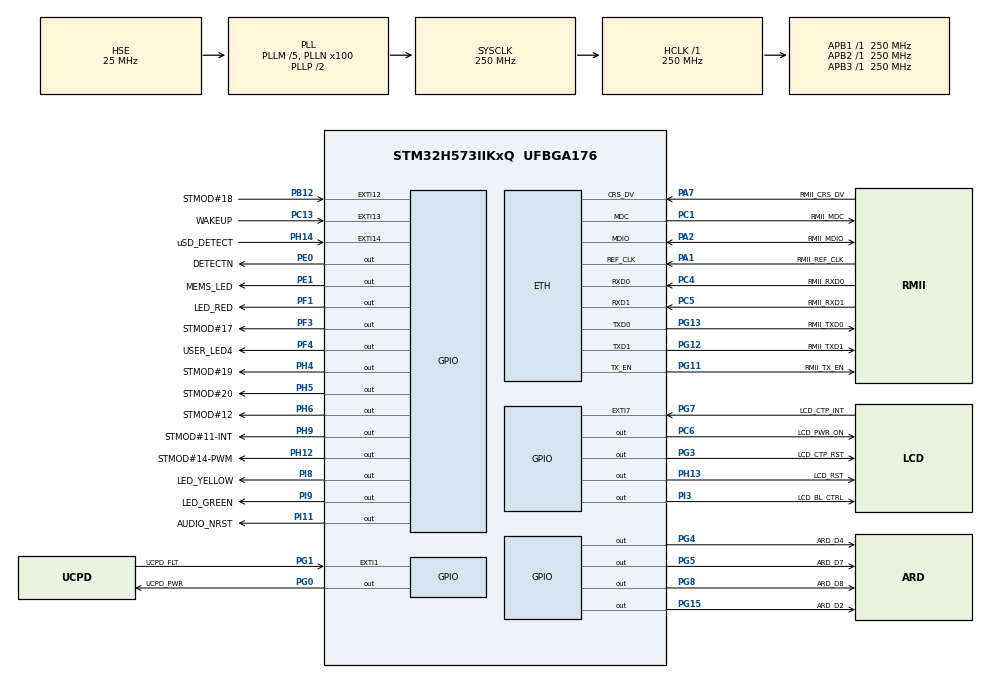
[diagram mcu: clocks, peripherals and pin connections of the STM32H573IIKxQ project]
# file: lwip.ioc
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CORTEX_M33_NS.userName=CORTEX_M33
ETH.MediaInterface=HAL_ETH_RMII_MODE
Mcu.Family=STM32H5
Mcu.Name=STM32H573IIKxQ
Mcu.Package=UFBGA176
NVIC.PriorityGroup=NVIC_PRIORITYGROUP_4
PA0.GPIO_Label=ARD_A2
PA0.Signal=ADCx_INP0
PA1.GPIO_Label=RMII_REF_CLK
PA1.Mode=RMII
PA1.Signal=ETH_REF_CLK
PA10.Signal=USART1_RX
PA11.GPIO_Label=USB_FS_N
PA11.Signal=USB_DM
PA12.GPIO_Label=USB_FS_P
PA12.Signal=USB_DP
PA13(JTMS/SWDIO).GPIO_Label=JTMS
PA13(JTMS/SWDIO).Signal=DEBUG_JTMS-SWDIO
PA14(JTCK/SWCLK).GPIO_Label=JTCK
PA14(JTCK/SWCLK).Signal=DEBUG_JTCK-SWCLK
PA15(JTDI).GPIO_Label=JTDI
PA15(JTDI).Signal=DEBUG_JTDI
PA2.GPIO_Label=RMII_MDIO
PA2.Mode=RMII
PA2.Signal=ETH_MDIO
PA3.GPIO_Label=ARD_D10
PA3.Signal=SPI2_NSS
PA4.GPIO_Label=ARD_A1
PA4.Signal=ADCx_INP18
PA5.GPIO_Label=ARD_A3
PA5.Signal=ADCx_INP19
PA6.GPIO_Label=ARD_A4
PA6.Signal=ADCx_INP3
PA7.GPIO_Label=RMII_CRS_DV
PA7.Mode=RMII
PA7.Signal=ETH_CRS_DV
PA8.GPIO_Label=ARD_D9
PA8.Signal=S_TIM1_CH1
PA9.Signal=USART1_TX
PB0.GPIO_Label=ARD_A0
PB0.Signal=ADCx_INP9
PB1.GPIO_Mode=GPIO_MODE_AF_PP
PB1.GPIO_PuPd=GPIO_NOPULL
PB1.GPIO_Speed_High_Default=GPIO_SPEED_FREQ_VERY_HIGH
PB1.Signal=OCTOSPI1_IO0
PB10.GPIO_Label=ARD_D1
PB10.Signal=USART3_TX
PB11.GPIO_Label=ARD_D0
PB11.Signal=USART3_RX
PB12.GPIO_Label=STMOD\#18
PB12.Signal=GPXTI12
PB13.GPIO_Label=UCPD_CC1
PB13.Signal=UCPD1_CC1
PB14.GPIO_Label=UCPD_CC2
PB14.Signal=UCPD1_CC2
PB15.GPIO_Label=ARD_D11
PB15.Signal=SPI2_MOSI
PB2.Signal=OCTOSPI1_DQS
PB3(JTDO/TRACESWO).GPIO_Label=SWO
PB3(JTDO/TRACESWO).Signal=DEBUG_JTDO-SWO
PB5.GPIO_Label=ARD_D3
PB5.Signal=S_TIM3_CH2
PB6.GPIO_Label=I2C1_SCL
PB6.Signal=I2C1_SCL
PB7.GPIO_Label=I2C1_SDA
PB7.Signal=I2C1_SDA
PC0.Signal=OCTOSPI1_IO7
PC1.GPIO_Label=RMII_MDC
PC1.Mode=RMII
PC1.Signal=ETH_MDC
PC10.GPIO_Label=SDIO1_D2
PC10.Signal=SDMMC1_D2
PC11.GPIO_Label=SDIO1_D3
PC11.Signal=SDMMC1_D3
PC12.GPIO_Label=SDIO1_CK
PC12.Signal=SDMMC1_CK
PC13.GPIO_Label=WAKEUP
PC13.Signal=GPXTI13
PC14-OSC32_IN(OSC32_IN).Signal=RCC_OSC32_IN
PC15-OSC32_OUT(OSC32_OUT).Signal=RCC_OSC32_OUT
PC2.GPIO_Mode=GPIO_MODE_AF_PP
PC2.GPIO_PuPd=GPIO_NOPULL
PC2.GPIO_Speed_High_Default=GPIO_SPEED_FREQ_VERY_HIGH
PC2.Signal=OCTOSPI1_IO2
PC3.GPIO_Label=PDM_SAI1_SD3
PC3.Signal=SAI1_D3
PC4.GPIO_Label=RMII_RXD0
PC4.Mode=RMII
PC4.Signal=ETH_RXD0
PC5.GPIO_Label=RMII_RXD1
PC5.Mode=RMII
PC5.Signal=ETH_RXD1
PC6.GPIO_Label=LCD_PWR_ON
PC6.Signal=GPIO_Output
PC7.Signal=FMC_NE1
PC8.GPIO_Label=SDIO1_D0
PC8.Signal=SDMMC1_D0
PC9.GPIO_Label=SDIO1_D1
PC9.Signal=SDMMC1_D1
PD0.GPIO_Label=LCD_D2
PD0.Signal=FMC_D2_DA2
PD1.GPIO_Label=LCD_D3
PD1.Signal=FMC_D3_DA3
PD10.GPIO_Label=LCD_D15
PD10.Signal=FMC_D15_DA15
PD11.Signal=SAI1_CK1
PD12.GPIO_Mode=GPIO_MODE_AF_PP
PD12.GPIO_PuPd=GPIO_NOPULL
PD12.GPIO_Speed_High_Default=GPIO_SPEED_FREQ_VERY_HIGH
PD12.Signal=OCTOSPI1_IO1
PD13.GPIO_Mode=GPIO_MODE_AF_PP
PD13.GPIO_PuPd=GPIO_NOPULL
PD13.GPIO_Speed_High_Default=GPIO_SPEED_FREQ_VERY_HIGH
PD13.Signal=OCTOSPI1_IO3
PD14.GPIO_Label=LCD_D0
PD14.Signal=FMC_D0_DA0
PD15.GPIO_Label=LCD_D1
PD15.Signal=FMC_D1_DA1
PD2.GPIO_Label=SDIO1_CMD
PD2.Signal=SDMMC1_CMD
PD3.GPIO_Label=LCD_TE
PD3.Signal=FMC_CLK
PD4.GPIO_Label=LCD_NOE
PD4.Signal=FMC_NOE
PD5.GPIO_Label=LCD_NWE
PD5.Signal=FMC_NWE
PD6.Signal=SAI1_SD_A
PD8.GPIO_Label=LCD_D13
PD8.Signal=FMC_D13_DA13
PD9.GPIO_Label=LCD_D14
PD9.Signal=FMC_D14_DA14
PE0.GPIO_Label=DETECTN
PE0.Signal=GPIO_Output
PE1.GPIO_Label=MEMS_LED
PE1.Signal=GPIO_Output
PE10.GPIO_Label=LCD_D7
PE10.Signal=FMC_D7_DA7
PE11.GPIO_Label=LCD_D8
PE11.Signal=FMC_D8_DA8
PE12.GPIO_Label=LCD_D9
PE12.Signal=FMC_D9_DA9
PE13.GPIO_Label=LCD_D10
PE13.Signal=FMC_D10_DA10
PE14.GPIO_Label=LCD_D11
PE14.Signal=FMC_D11_DA11
PE15.GPIO_Label=LCD_D12
PE15.Signal=FMC_D12_DA12
PE2.Signal=DEBUG_TRACECLK
PE3.GPIO_Label=TRACED0
PE3.Signal=DEBUG_TRACED0
PE4.Signal=SAI1_D2
PE5.GPIO_Label=TRACED2
PE5.Signal=DEBUG_TRACED2
PE6.GPIO_Label=TRACED3
PE6.Signal=DEBUG_TRACED3
PE7.Signal=FMC_D4_DA4
PE8.GPIO_Label=LCD_D5
PE8.Signal=FMC_D5_DA5
PE9.GPIO_Label=LCD_D6
PE9.Signal=FMC_D6_DA6
PF0.GPIO_Label=LCD_A0_RS
PF0.Signal=FMC_A0
PF1.GPIO_Label=LED_RED
PF1.Signal=GPIO_Output
PF10.GPIO_Mode=GPIO_MODE_AF_PP
PF10.GPIO_PuPd=GPIO_NOPULL
PF10.GPIO_Speed_High_Default=GPIO_SPEED_FREQ_VERY_HIGH
PF10.Signal=OCTOSPI1_CLK
PF11.GPIO_Label=STMOD\#13
PF11.Signal=ADC1_INP2
PF12.GPIO_Label=ARD_A5
PF12.Signal=ADC1_INP6
PF13.GPIO_Label=IBUS_SENSE
PF13.Signal=ADC2_INP2
PF14.GPIO_Label=VBUS_SENSE
PF14.Signal=ADC2_INP6
PF3.GPIO_Label=STMOD\#17
PF3.Signal=GPIO_Output
PF4.GPIO_Label=USER_LED4
PF4.Signal=GPIO_Output
PG0.GPIO_Label=UCPD_PWR
PG0.Signal=GPIO_Output
PG1.GPIO_Label=UCPD_FLT
PG1.Signal=GPXTI1
PG10.GPIO_Label=SAI2_SD_B
PG10.Signal=SAI2_SD_B
PG11.GPIO_Label=RMII_TX_EN
PG11.Mode=RMII
PG11.Signal=ETH_TX_EN
PG12.GPIO_Label=RMII_TXD1
PG12.Mode=RMII
PG12.Signal=ETH_TXD1
PG13.GPIO_Label=RMII_TXD0
PG13.Mode=RMII
PG13.Signal=ETH_TXD0
PG14.GPIO_Label=TRACED1
PG14.Signal=DEBUG_TRACED1
PG15.GPIO_Label=ARD_D2
PG15.Signal=GPIO_Output
PG3.GPIO_Label=LCD_CTP_RST
PG3.Signal=GPIO_Output
PG4.GPIO_Label=ARD_D4
PG4.Signal=GPIO_Output
PG5.GPIO_Label=ARD_D7
PG5.Signal=GPIO_Output
PG6.GPIO_Mode=GPIO_MODE_AF_PP
PG6.GPIO_PuPd=GPIO_NOPULL
PG6.GPIO_Speed_High_Default=GPIO_SPEED_FREQ_VERY_HIGH
PG6.Signal=OCTOSPI1_NCS
PG7.GPIO_Label=LCD_CTP_INT
PG7.Signal=GPXTI7
PG8.GPIO_Label=ARD_D8
PG8.Signal=GPIO_Output
PG9.GPIO_Mode=GPIO_MODE_AF_PP
PG9.GPIO_PuPd=GPIO_NOPULL
PG9.GPIO_Speed_High_Default=GPIO_SPEED_FREQ_VERY_HIGH
PG9.Signal=OCTOSPI1_IO6
PH0-OSC_IN(PH0).Mode=HSE-DIG-External-Clock-Source
PH0-OSC_IN(PH0).Signal=RCC_OSC_IN
PH10.GPIO_Label=ARD_D6
PH10.Signal=S_TIM5_CH1
PH11.GPIO_Label=ARD_D5
PH11.Signal=S_TIM5_CH2
PH12.GPIO_Label=STMOD\#14-PWM
PH12.Signal=GPIO_Output
PH13.GPIO_Label=LCD_RST
PH13.Signal=GPIO_Output
PH14.GPIO_Label=uSD_DETECT
PH14.Signal=GPXTI14
PH2.GPIO_Mode=GPIO_MODE_AF_PP
PH2.GPIO_PuPd=GPIO_NOPULL
PH2.GPIO_Speed_High_Default=GPIO_SPEED_FREQ_VERY_HIGH
PH2.Signal=OCTOSPI1_IO4
PH3.GPIO_Mode=GPIO_MODE_AF_PP
PH3.GPIO_PuPd=GPIO_NOPULL
PH3.GPIO_Speed_High_Default=GPIO_SPEED_FREQ_VERY_HIGH
PH3.Signal=OCTOSPI1_IO5
PH4.GPIO_Label=STMOD\#19
PH4.Signal=GPIO_Output
PH5.GPIO_Label=STMOD\#20
PH5.Signal=GPIO_Output
PH6.GPIO_Label=STMOD\#12
PH6.Signal=GPIO_Output
PH7.GPIO_Label=STMOD\#12-RST
PH7.Signal=SPI5_MISO
PH8.GPIO_Label=STMOD\#9-MISOs
PH8.Signal=SPI5_MOSI
PH9.GPIO_Label=STMOD\#11-INT
PH9.Signal=GPIO_Output
PI1.GPIO_Label=ARD_D13
PI1.Signal=SPI2_SCK
PI10.GPIO_Label=RMII_RX_ER
PI10.Signal=ETH_RX_ER
PI11.GPIO_Label=AUDIO_NRST
PI11.Signal=GPIO_Output
PI2.GPIO_Label=ARD_D12
PI2.Signal=SPI2_MISO
PI3.GPIO_Label=LCD_BL_CTRL
PI3.Signal=GPIO_Output
PI4.GPIO_Label=SAI2_MCLK_A
PI4.Signal=SAI2_MCLK_A
PI5.GPIO_Label=SAI2_SCK_A
PI5.Signal=SAI2_SCK_A
PI6.GPIO_Label=SAI2_SD_A
PI6.Signal=SAI2_SD_A
PI7.GPIO_Label=SAI2_FS_A
PI7.Signal=SAI2_FS_A
PI8.GPIO_Label=LED_YELLOW
PI8.Signal=GPIO_Output
PI9.GPIO_Label=LED_GREEN
PI9.Signal=GPIO_Output
ProjectManager.HeapSize=0x200
ProjectManager.StackSize=0x400
ProjectManager.TargetToolchain=STM32CubeIDE
RCC.ADCFreq_Value=250000000
RCC.AHBFreq_Value=250000000
RCC.APB1Freq_Value=250000000
RCC.APB1TimFreq_Value=250000000
RCC.APB2Freq_Value=250000000
RCC.APB2TimFreq_Value=250000000
RCC.APB3Freq_Value=250000000
RCC.CSI_VALUE=4000000
RCC.CortexFreq_Value=250000000
RCC.EPOD_VALUE=25000000
RCC.HCLKFreq_Value=250000000
RCC.HSE_VALUE=25000000
RCC.HSI48_VALUE=48000000
RCC.HSIDiv=RCC_HSI_DIV1
RCC.HSI_VALUE=64000000
RCC.LSE_VALUE=32768
RCC.LSIRC_VALUE=32000
RCC.PLL2FRACN=0
RCC.PLL2N=32
RCC.PLL2P=1
RCC.PLLM=5
RCC.PLLN=100
RCC.PLLSourceVirtual=RCC_PLL1_SOURCE_HSE
RCC.SYSCLKFreq_VALUE=250000000
RCC.SYSCLKSource=RCC_SYSCLKSOURCE_PLLCLK
RCC.USBFreq_Value=48000000
RCC.VCOOutputFreq_Value=500000000
SH.ADCx_INP0.0=ADC1_INP0
SH.ADCx_INP18.0=ADC1_INP18
SH.ADCx_INP19.0=ADC1_INP19
SH.ADCx_INP3.0=ADC1_INP3
SH.ADCx_INP9.0=ADC1_INP9
SH.FMC_A0.0=FMC_A0
SH.FMC_CLK.0=FMC_CLK
SH.FMC_D0_DA0.0=FMC_D0
SH.FMC_D10_DA10.0=FMC_D10
SH.FMC_D11_DA11.0=FMC_D11
SH.FMC_D12_DA12.0=FMC_D12
SH.FMC_D13_DA13.0=FMC_D13
SH.FMC_D14_DA14.0=FMC_D14
SH.FMC_D15_DA15.0=FMC_D15
SH.FMC_D1_DA1.0=FMC_D1
SH.FMC_D2_DA2.0=FMC_D2
SH.FMC_D3_DA3.0=FMC_D3
SH.FMC_D4_DA4.0=FMC_D4
SH.FMC_D5_DA5.0=FMC_D5
SH.FMC_D6_DA6.0=FMC_D6
SH.FMC_D7_DA7.0=FMC_D7
SH.FMC_D8_DA8.0=FMC_D8
SH.FMC_D9_DA9.0=FMC_D9
SH.FMC_NOE.0=FMC_NOE
SH.FMC_NWE.0=FMC_NWE
SH.S_TIM1_CH1.0=TIM1_CH1
SH.S_TIM3_CH2.0=TIM3_CH2
SH.S_TIM5_CH1.0=TIM5_CH1
SH.S_TIM5_CH2.0=TIM5_CH2
STM32H573I-DK.VCP=true
VP_BOOTPATH_VS_BOOTPATH.Mode=BP_Activate
VP_CORTEX_M33_NS_VS_Hclk.Mode=Hclk_Mode
VP_ICACHE_VS_ICACHE.Mode=DirectMappedCache
VP_MEMORYMAP_VS_MEMORYMAP.Mode=CurAppReg
VP_PWR_VS_LPOM.Mode=PowerOptimisation
VP_PWR_VS_SECSignals.Mode=Security/Privilege
VP_STM32H573I-DK_VS_BSP_COMMON.Mode=COMMON
board=STM32H573I-DK

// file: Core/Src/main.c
/* USER CODE BEGIN Header */
/**
  ******************************************************************************
  * @file           : main.c
  * @brief          : Main program body
  ******************************************************************************
  * @attention
  *
  * Copyright (c) 2025 STMicroelectronics.
  * All rights reserved.
  *
  * This software is licensed under terms that can be found in the LICENSE file
  * in the root directory of this software component.
  * If no LICENSE file comes with this software, it is provided AS-IS.
  *
  ******************************************************************************
  */
/* USER CODE END Header */
#include "main.h"
#include "string.h"

/* USER CODE BEGIN Includes */
#include "lwip.h"
#include "ethernetif.h"
#include "lwip/opt.h"
#include "lwip/init.h"
#include "netif/etharp.h"
#include "lwip/netif.h"
#include "lwip/timeouts.h"
#if LWIP_DHCP
#include "lwip/dhcp.h"
#endif

/* USER CODE END Includes */

ETH_TxPacketConfigTypeDef TxConfig;
ETH_DMADescTypeDef  DMARxDscrTab[ETH_RX_DESC_CNT]; /* Ethernet Rx DMA Descriptors */
ETH_DMADescTypeDef  DMATxDscrTab[ETH_TX_DESC_CNT]; /* Ethernet Tx DMA Descriptors */

COM_InitTypeDef BspCOMInit;

ETH_HandleTypeDef heth;

/* USER CODE BEGIN PV */
extern struct netif gnetif;
/* USER CODE END PV */

void SystemClock_Config(void);
static void MX_GPIO_Init(void);
static void MX_ICACHE_Init(void);
/* USER CODE BEGIN PFP */
static void Netif_Config(void);
/* USER CODE END PFP */

int main(void)
{

  /* MCU Configuration--------------------------------------------------------*/

  /* Reset of all peripherals, Initializes the Flash interface and the Systick. */
  HAL_Init();

  /* Configure the system clock */
  SystemClock_Config();

  /* Initialize all configured peripherals */
  MX_GPIO_Init();
  MX_ICACHE_Init();
  /* USER CODE BEGIN 2 */
  lwip_init();
   Netif_Config();
  /* USER CODE END 2 */

  /* Initialize COM1 port (115200, 8 bits (7-bit data + 1 stop bit), no parity */
  BspCOMInit.BaudRate   = 115200;
  BspCOMInit.WordLength = COM_WORDLENGTH_8B;
  BspCOMInit.StopBits   = COM_STOPBITS_1;
  BspCOMInit.Parity     = COM_PARITY_NONE;
  BspCOMInit.HwFlowCtl  = COM_HWCONTROL_NONE;
  if (BSP_COM_Init(COM1, &BspCOMInit) != BSP_ERROR_NONE)
  {
    Error_Handler();
  }

  /* Infinite loop */
  /* USER CODE BEGIN WHILE */
  while (1)
  {
	  /* Read a received packet from the Ethernet buffers and send it
	               to the lwIP for handling */
	              ethernetif_input(&gnetif);
	              /* Handle timeouts */
	              sys_check_timeouts();
	 #if LWIP_NETIF_LINK_CALLBACK
	              Ethernet_Link_Periodic_Handle(&gnetif);
	 #endif
	 #if LWIP_DHCP
	              DHCP_Periodic_Handle(&gnetif);
	 #endif
    /* USER CODE END WHILE */

  }
}

void SystemClock_Config(void)
{
  RCC_OscInitTypeDef RCC_OscInitStruct = {0};
  RCC_ClkInitTypeDef RCC_ClkInitStruct = {0};

  /** Configure the main internal regulator output voltage
  */
  __HAL_PWR_VOLTAGESCALING_CONFIG(PWR_REGULATOR_VOLTAGE_SCALE0);

  while(!__HAL_PWR_GET_FLAG(PWR_FLAG_VOSRDY)) {}

  /** Initializes the RCC Oscillators according to the specified parameters
  * in the RCC_OscInitTypeDef structure.
  */
  RCC_OscInitStruct.OscillatorType = RCC_OSCILLATORTYPE_HSE;
  RCC_OscInitStruct.HSEState = RCC_HSE_BYPASS_DIGITAL;
  RCC_OscInitStruct.PLL.PLLState = RCC_PLL_ON;
  RCC_OscInitStruct.PLL.PLLSource = RCC_PLL1_SOURCE_HSE;
  RCC_OscInitStruct.PLL.PLLM = 5;
  RCC_OscInitStruct.PLL.PLLN = 100;
  RCC_OscInitStruct.PLL.PLLP = 2;
  RCC_OscInitStruct.PLL.PLLQ = 2;
  RCC_OscInitStruct.PLL.PLLR = 2;
  RCC_OscInitStruct.PLL.PLLRGE = RCC_PLL1_VCIRANGE_2;
  RCC_OscInitStruct.PLL.PLLVCOSEL = RCC_PLL1_VCORANGE_WIDE;
  RCC_OscInitStruct.PLL.PLLFRACN = 0;
  if (HAL_RCC_OscConfig(&RCC_OscInitStruct) != HAL_OK)
  {
    Error_Handler();
  }

  /** Initializes the CPU, AHB and APB buses clocks
  */
  RCC_ClkInitStruct.ClockType = RCC_CLOCKTYPE_HCLK|RCC_CLOCKTYPE_SYSCLK
                              |RCC_CLOCKTYPE_PCLK1|RCC_CLOCKTYPE_PCLK2
                              |RCC_CLOCKTYPE_PCLK3;
  RCC_ClkInitStruct.SYSCLKSource = RCC_SYSCLKSOURCE_PLLCLK;
  RCC_ClkInitStruct.AHBCLKDivider = RCC_SYSCLK_DIV1;
  RCC_ClkInitStruct.APB1CLKDivider = RCC_HCLK_DIV1;
  RCC_ClkInitStruct.APB2CLKDivider = RCC_HCLK_DIV1;
  RCC_ClkInitStruct.APB3CLKDivider = RCC_HCLK_DIV1;

  if (HAL_RCC_ClockConfig(&RCC_ClkInitStruct, FLASH_LATENCY_5) != HAL_OK)
  {
    Error_Handler();
  }

  /** Configure the programming delay
  */
  __HAL_FLASH_SET_PROGRAM_DELAY(FLASH_PROGRAMMING_DELAY_2);
}

void MX_ETH_Init(void)
{

   static uint8_t MACAddr[6];

  heth.Instance = ETH;
  MACAddr[0] = 0x00;
  MACAddr[1] = 0x80;
  MACAddr[2] = 0xE1;
  MACAddr[3] = 0x00;
  MACAddr[4] = 0x00;
  MACAddr[5] = 0x00;
  heth.Init.MACAddr = &MACAddr[0];
  heth.Init.MediaInterface = HAL_ETH_RMII_MODE;
  heth.Init.TxDesc = DMATxDscrTab;
  heth.Init.RxDesc = DMARxDscrTab;
  heth.Init.RxBuffLen = 1524;

  if (HAL_ETH_Init(&heth) != HAL_OK)
  {
    Error_Handler();
  }

  memset(&TxConfig, 0 , sizeof(ETH_TxPacketConfigTypeDef));
  TxConfig.Attributes = ETH_TX_PACKETS_FEATURES_CSUM | ETH_TX_PACKETS_FEATURES_CRCPAD;
  TxConfig.ChecksumCtrl = ETH_CHECKSUM_IPHDR_PAYLOAD_INSERT_PHDR_CALC;
  TxConfig.CRCPadCtrl = ETH_CRC_PAD_INSERT;

}

static void MX_ICACHE_Init(void)
{

  /** Enable instruction cache in 1-way (direct mapped cache)
  */
  if (HAL_ICACHE_ConfigAssociativityMode(ICACHE_1WAY) != HAL_OK)
  {
    Error_Handler();
  }
  if (HAL_ICACHE_Enable() != HAL_OK)
  {
    Error_Handler();
  }

}

static void MX_GPIO_Init(void)
{
  GPIO_InitTypeDef GPIO_InitStruct = {0};

  /* GPIO Ports Clock Enable */
  __HAL_RCC_GPIOI_CLK_ENABLE();
  __HAL_RCC_GPIOB_CLK_ENABLE();
  __HAL_RCC_GPIOG_CLK_ENABLE();
  __HAL_RCC_GPIOD_CLK_ENABLE();
  __HAL_RCC_GPIOE_CLK_ENABLE();
  __HAL_RCC_GPIOA_CLK_ENABLE();
  __HAL_RCC_GPIOH_CLK_ENABLE();
  __HAL_RCC_GPIOC_CLK_ENABLE();
  __HAL_RCC_GPIOF_CLK_ENABLE();

  /*Configure GPIO pin Output Level */
  HAL_GPIO_WritePin(GPIOG, ARD_D2_Pin|ARD_D8_Pin|LCD_CTP_RST_Pin|ARD_D7_Pin
                          |ARD_D4_Pin|UCPD_PWR_Pin, GPIO_PIN_RESET);

  /*Configure GPIO pin Output Level */
  HAL_GPIO_WritePin(GPIOI, LCD_BL_CTRL_Pin|LED_GREEN_Pin|LED_YELLOW_Pin|AUDIO_NRST_Pin, GPIO_PIN_RESET);

  /*Configure GPIO pin Output Level */
  HAL_GPIO_WritePin(GPIOE, MEMS_LED_Pin|DETECTN_Pin, GPIO_PIN_RESET);

  /*Configure GPIO pin Output Level */
  HAL_GPIO_WritePin(GPIOH, LCD_RST_Pin|STMOD_11_INT_Pin|STMOD_14_PWM_Pin|STMOD_20_Pin
                          |STMOD_12_Pin|STMOD_19_Pin, GPIO_PIN_RESET);

  /*Configure GPIO pin Output Level */
  HAL_GPIO_WritePin(GPIOF, LED_RED_Pin|USER_LED4_Pin|STMOD_17_Pin, GPIO_PIN_RESET);

  /*Configure GPIO pin Output Level */
  HAL_GPIO_WritePin(LCD_PWR_ON_GPIO_Port, LCD_PWR_ON_Pin, GPIO_PIN_RESET);

  /*Configure GPIO pins : SAI2_FS_A_Pin SAI2_SCK_A_Pin SAI2_MCLK_A_Pin SAI2_SD_A_Pin */
  GPIO_InitStruct.Pin = SAI2_FS_A_Pin|SAI2_SCK_A_Pin|SAI2_MCLK_A_Pin|SAI2_SD_A_Pin;
  GPIO_InitStruct.Mode = GPIO_MODE_AF_PP;
  GPIO_InitStruct.Pull = GPIO_NOPULL;
  GPIO_InitStruct.Speed = GPIO_SPEED_FREQ_LOW;
  GPIO_InitStruct.Alternate = GPIO_AF10_SAI2;
  HAL_GPIO_Init(GPIOI, &GPIO_InitStruct);

  /*Configure GPIO pin : ARD_D3_Pin */
  GPIO_InitStruct.Pin = ARD_D3_Pin;
  GPIO_InitStruct.Mode = GPIO_MODE_AF_PP;
  GPIO_InitStruct.Pull = GPIO_NOPULL;
  GPIO_InitStruct.Speed = GPIO_SPEED_FREQ_LOW;
  GPIO_InitStruct.Alternate = GPIO_AF2_TIM3;
  HAL_GPIO_Init(ARD_D3_GPIO_Port, &GPIO_InitStruct);

  /*Configure GPIO pins : ARD_D2_Pin ARD_D8_Pin LCD_CTP_RST_Pin ARD_D7_Pin
                           ARD_D4_Pin UCPD_PWR_Pin */
  GPIO_InitStruct.Pin = ARD_D2_Pin|ARD_D8_Pin|LCD_CTP_RST_Pin|ARD_D7_Pin
                          |ARD_D4_Pin|UCPD_PWR_Pin;
  GPIO_InitStruct.Mode = GPIO_MODE_OUTPUT_PP;
  GPIO_InitStruct.Pull = GPIO_NOPULL;
  GPIO_InitStruct.Speed = GPIO_SPEED_FREQ_LOW;
  HAL_GPIO_Init(GPIOG, &GPIO_InitStruct);

  /*Configure GPIO pin : SAI2_SD_B_Pin */
  GPIO_InitStruct.Pin = SAI2_SD_B_Pin;
  GPIO_InitStruct.Mode = GPIO_MODE_AF_PP;
  GPIO_InitStruct.Pull = GPIO_NOPULL;
  GPIO_InitStruct.Speed = GPIO_SPEED_FREQ_LOW;
  GPIO_InitStruct.Alternate = GPIO_AF10_SAI2;
  HAL_GPIO_Init(SAI2_SD_B_GPIO_Port, &GPIO_InitStruct);

  /*Configure GPIO pins : LCD_NWE_Pin LCD_TE_Pin LCD_D3_Pin LCD_NOE_Pin
                           LCD_D2_Pin LCD_D1_Pin LCD_D15_Pin LCD_D0_Pin
                           LCD_D14_Pin LCD_D13_Pin */
  GPIO_InitStruct.Pin = LCD_NWE_Pin|LCD_TE_Pin|LCD_D3_Pin|LCD_NOE_Pin
                          |LCD_D2_Pin|LCD_D1_Pin|LCD_D15_Pin|LCD_D0_Pin
                          |LCD_D14_Pin|LCD_D13_Pin;
  GPIO_InitStruct.Mode = GPIO_MODE_AF_PP;
  GPIO_InitStruct.Pull = GPIO_NOPULL;
  GPIO_InitStruct.Speed = GPIO_SPEED_FREQ_VERY_HIGH;
  GPIO_InitStruct.Alternate = GPIO_AF12_FMC;
  HAL_GPIO_Init(GPIOD, &GPIO_InitStruct);

  /*Configure GPIO pins : LCD_BL_CTRL_Pin LED_GREEN_Pin LED_YELLOW_Pin AUDIO_NRST_Pin */
  GPIO_InitStruct.Pin = LCD_BL_CTRL_Pin|LED_GREEN_Pin|LED_YELLOW_Pin|AUDIO_NRST_Pin;
  GPIO_InitStruct.Mode = GPIO_MODE_OUTPUT_PP;
  GPIO_InitStruct.Pull = GPIO_NOPULL;
  GPIO_InitStruct.Speed = GPIO_SPEED_FREQ_LOW;
  HAL_GPIO_Init(GPIOI, &GPIO_InitStruct);

  /*Configure GPIO pins : ARD_D13_Pin ARD_D12_Pin */
  GPIO_InitStruct.Pin = ARD_D13_Pin|ARD_D12_Pin;
  GPIO_InitStruct.Mode = GPIO_MODE_AF_PP;
  GPIO_InitStruct.Pull = GPIO_NOPULL;
  GPIO_InitStruct.Speed = GPIO_SPEED_FREQ_LOW;
  GPIO_InitStruct.Alternate = GPIO_AF5_SPI2;
  HAL_GPIO_Init(GPIOI, &GPIO_InitStruct);

  /*Configure GPIO pins : MEMS_LED_Pin DETECTN_Pin */
  GPIO_InitStruct.Pin = MEMS_LED_Pin|DETECTN_Pin;
  GPIO_InitStruct.Mode = GPIO_MODE_OUTPUT_PP;
  GPIO_InitStruct.Pull = GPIO_NOPULL;
  GPIO_InitStruct.Speed = GPIO_SPEED_FREQ_LOW;
  HAL_GPIO_Init(GPIOE, &GPIO_InitStruct);

  /*Configure GPIO pins : I2C1_SCL_Pin I2C1_SDA_Pin */
  GPIO_InitStruct.Pin = I2C1_SCL_Pin|I2C1_SDA_Pin;
  GPIO_InitStruct.Mode = GPIO_MODE_AF_OD;
  GPIO_InitStruct.Pull = GPIO_NOPULL;
  GPIO_InitStruct.Speed = GPIO_SPEED_FREQ_LOW;
  GPIO_InitStruct.Alternate = GPIO_AF4_I2C1;
  HAL_GPIO_Init(GPIOB, &GPIO_InitStruct);

  /*Configure GPIO pin : PG9 */
  GPIO_InitStruct.Pin = GPIO_PIN_9;
  GPIO_InitStruct.Mode = GPIO_MODE_AF_PP;
  GPIO_InitStruct.Pull = GPIO_NOPULL;
  GPIO_InitStruct.Speed = GPIO_SPEED_FREQ_VERY_HIGH;
  GPIO_InitStruct.Alternate = GPIO_AF9_OCTOSPI1;
  HAL_GPIO_Init(GPIOG, &GPIO_InitStruct);

  /*Configure GPIO pin : PD6 */
  GPIO_InitStruct.Pin = GPIO_PIN_6;
  GPIO_InitStruct.Mode = GPIO_MODE_AF_PP;
  GPIO_InitStruct.Pull = GPIO_NOPULL;
  GPIO_InitStruct.Speed = GPIO_SPEED_FREQ_LOW;
  GPIO_InitStruct.Alternate = GPIO_AF6_SAI1;
  HAL_GPIO_Init(GPIOD, &GPIO_InitStruct);

  /*Configure GPIO pins : LCD_RST_Pin STMOD_11_INT_Pin STMOD_14_PWM_Pin STMOD_20_Pin
                           STMOD_12_Pin STMOD_19_Pin */
  GPIO_InitStruct.Pin = LCD_RST_Pin|STMOD_11_INT_Pin|STMOD_14_PWM_Pin|STMOD_20_Pin
                          |STMOD_12_Pin|STMOD_19_Pin;
  GPIO_InitStruct.Mode = GPIO_MODE_OUTPUT_PP;
  GPIO_InitStruct.Pull = GPIO_NOPULL;
  GPIO_InitStruct.Speed = GPIO_SPEED_FREQ_LOW;
  HAL_GPIO_Init(GPIOH, &GPIO_InitStruct);

  /*Configure GPIO pin : PE4 */
  GPIO_InitStruct.Pin = GPIO_PIN_4;
  GPIO_InitStruct.Mode = GPIO_MODE_AF_PP;
  GPIO_InitStruct.Pull = GPIO_NOPULL;
  GPIO_InitStruct.Speed = GPIO_SPEED_FREQ_LOW;
  GPIO_InitStruct.Alternate = GPIO_AF2_SAI1;
  HAL_GPIO_Init(GPIOE, &GPIO_InitStruct);

  /*Configure GPIO pin : SDIO1_CMD_Pin */
  GPIO_InitStruct.Pin = SDIO1_CMD_Pin;
  GPIO_InitStruct.Mode = GPIO_MODE_AF_PP;
  GPIO_InitStruct.Pull = GPIO_NOPULL;
  GPIO_InitStruct.Speed = GPIO_SPEED_FREQ_HIGH;
  GPIO_InitStruct.Alternate = GPIO_AF12_SDMMC1;
  HAL_GPIO_Init(SDIO1_CMD_GPIO_Port, &GPIO_InitStruct);

  /*Configure GPIO pins : SDIO1_CK_Pin SDIO1_D3_Pin SDIO1_D2_Pin SDIO1_D1_Pin
                           SDIO1_D0_Pin */
  GPIO_InitStruct.Pin = SDIO1_CK_Pin|SDIO1_D3_Pin|SDIO1_D2_Pin|SDIO1_D1_Pin
                          |SDIO1_D0_Pin;
  GPIO_InitStruct.Mode = GPIO_MODE_AF_PP;
  GPIO_InitStruct.Pull = GPIO_NOPULL;
  GPIO_InitStruct.Speed = GPIO_SPEED_FREQ_HIGH;
  GPIO_InitStruct.Alternate = GPIO_AF12_SDMMC1;
  HAL_GPIO_Init(GPIOC, &GPIO_InitStruct);

  /*Configure GPIO pins : USB_FS_P_Pin USB_FS_N_Pin */
  GPIO_InitStruct.Pin = USB_FS_P_Pin|USB_FS_N_Pin;
  GPIO_InitStruct.Mode = GPIO_MODE_AF_PP;
  GPIO_InitStruct.Pull = GPIO_NOPULL;
  GPIO_InitStruct.Speed = GPIO_SPEED_FREQ_LOW;
  GPIO_InitStruct.Alternate = GPIO_AF10_USB;
  HAL_GPIO_Init(GPIOA, &GPIO_InitStruct);

  /*Configure GPIO pin : uSD_DETECT_Pin */
  GPIO_InitStruct.Pin = uSD_DETECT_Pin;
  GPIO_InitStruct.Mode = GPIO_MODE_IT_RISING;
  GPIO_InitStruct.Pull = GPIO_NOPULL;
  HAL_GPIO_Init(uSD_DETECT_GPIO_Port, &GPIO_InitStruct);

  /*Configure GPIO pin : WAKEUP_Pin */
  GPIO_InitStruct.Pin = WAKEUP_Pin;
  GPIO_InitStruct.Mode = GPIO_MODE_IT_RISING;
  GPIO_InitStruct.Pull = GPIO_NOPULL;
  HAL_GPIO_Init(WAKEUP_GPIO_Port, &GPIO_InitStruct);

  /*Configure GPIO pins : LED_RED_Pin USER_LED4_Pin STMOD_17_Pin */
  GPIO_InitStruct.Pin = LED_RED_Pin|USER_LED4_Pin|STMOD_17_Pin;
  GPIO_InitStruct.Mode = GPIO_MODE_OUTPUT_PP;
  GPIO_InitStruct.Pull = GPIO_NOPULL;
  GPIO_InitStruct.Speed = GPIO_SPEED_FREQ_LOW;
  HAL_GPIO_Init(GPIOF, &GPIO_InitStruct);

  /*Configure GPIO pin : LCD_A0_RS_Pin */
  GPIO_InitStruct.Pin = LCD_A0_RS_Pin;
  GPIO_InitStruct.Mode = GPIO_MODE_AF_PP;
  GPIO_InitStruct.Pull = GPIO_NOPULL;
  GPIO_InitStruct.Speed = GPIO_SPEED_FREQ_VERY_HIGH;
  GPIO_InitStruct.Alternate = GPIO_AF12_FMC;
  HAL_GPIO_Init(LCD_A0_RS_GPIO_Port, &GPIO_InitStruct);

  /*Configure GPIO pin : ARD_D9_Pin */
  GPIO_InitStruct.Pin = ARD_D9_Pin;
  GPIO_InitStruct.Mode = GPIO_MODE_AF_PP;
  GPIO_InitStruct.Pull = GPIO_NOPULL;
  GPIO_InitStruct.Speed = GPIO_SPEED_FREQ_LOW;
  GPIO_InitStruct.Alternate = GPIO_AF1_TIM1;
  HAL_GPIO_Init(ARD_D9_GPIO_Port, &GPIO_InitStruct);

  /*Configure GPIO pin : PC7 */
  GPIO_InitStruct.Pin = GPIO_PIN_7;
  GPIO_InitStruct.Mode = GPIO_MODE_AF_PP;
  GPIO_InitStruct.Pull = GPIO_NOPULL;
  GPIO_InitStruct.Speed = GPIO_SPEED_FREQ_VERY_HIGH;
  GPIO_InitStruct.Alternate = GPIO_AF9_FMC;
  HAL_GPIO_Init(GPIOC, &GPIO_InitStruct);

  /*Configure GPIO pin : LCD_PWR_ON_Pin */
  GPIO_InitStruct.Pin = LCD_PWR_ON_Pin;
  GPIO_InitStruct.Mode = GPIO_MODE_OUTPUT_PP;
  GPIO_InitStruct.Pull = GPIO_NOPULL;
  GPIO_InitStruct.Speed = GPIO_SPEED_FREQ_LOW;
  HAL_GPIO_Init(LCD_PWR_ON_GPIO_Port, &GPIO_InitStruct);

  /*Configure GPIO pins : LCD_CTP_INT_Pin UCPD_FLT_Pin */
  GPIO_InitStruct.Pin = LCD_CTP_INT_Pin|UCPD_FLT_Pin;
  GPIO_InitStruct.Mode = GPIO_MODE_IT_RISING;
  GPIO_InitStruct.Pull = GPIO_NOPULL;
  HAL_GPIO_Init(GPIOG, &GPIO_InitStruct);

  /*Configure GPIO pin : PF10 */
  GPIO_InitStruct.Pin = GPIO_PIN_10;
  GPIO_InitStruct.Mode = GPIO_MODE_AF_PP;
  GPIO_InitStruct.Pull = GPIO_NOPULL;
  GPIO_InitStruct.Speed = GPIO_SPEED_FREQ_VERY_HIGH;
  GPIO_InitStruct.Alternate = GPIO_AF9_OCTOSPI1;
  HAL_GPIO_Init(GPIOF, &GPIO_InitStruct);

  /*Configure GPIO pin : PG6 */
  GPIO_InitStruct.Pin = GPIO_PIN_6;
  GPIO_InitStruct.Mode = GPIO_MODE_AF_PP;
  GPIO_InitStruct.Pull = GPIO_NOPULL;
  GPIO_InitStruct.Speed = GPIO_SPEED_FREQ_VERY_HIGH;
  GPIO_InitStruct.Alternate = GPIO_AF10_OCTOSPI1;
  HAL_GPIO_Init(GPIOG, &GPIO_InitStruct);

  /*Configure GPIO pin : PC2 */
  GPIO_InitStruct.Pin = GPIO_PIN_2;
  GPIO_InitStruct.Mode = GPIO_MODE_AF_PP;
  GPIO_InitStruct.Pull = GPIO_NOPULL;
  GPIO_InitStruct.Speed = GPIO_SPEED_FREQ_VERY_HIGH;
  GPIO_InitStruct.Alternate = GPIO_AF9_OCTOSPI1;
  HAL_GPIO_Init(GPIOC, &GPIO_InitStruct);

  /*Configure GPIO pins : PD12 PD13 */
  GPIO_InitStruct.Pin = GPIO_PIN_12|GPIO_PIN_13;
  GPIO_InitStruct.Mode = GPIO_MODE_AF_PP;
  GPIO_InitStruct.Pull = GPIO_NOPULL;
  GPIO_InitStruct.Speed = GPIO_SPEED_FREQ_VERY_HIGH;
  GPIO_InitStruct.Alternate = GPIO_AF9_OCTOSPI1;
  HAL_GPIO_Init(GPIOD, &GPIO_InitStruct);

  /*Configure GPIO pin : PC0 */
  GPIO_InitStruct.Pin = GPIO_PIN_0;
  GPIO_InitStruct.Mode = GPIO_MODE_AF_PP;
  GPIO_InitStruct.Pull = GPIO_NOPULL;
  GPIO_InitStruct.Speed = GPIO_SPEED_FREQ_VERY_HIGH;
  GPIO_InitStruct.Alternate = GPIO_AF10_OCTOSPI1;
  HAL_GPIO_Init(GPIOC, &GPIO_InitStruct);

  /*Configure GPIO pin : STMOD_18_Pin */
  GPIO_InitStruct.Pin = STMOD_18_Pin;
  GPIO_InitStruct.Mode = GPIO_MODE_IT_RISING;
  GPIO_InitStruct.Pull = GPIO_NOPULL;
  HAL_GPIO_Init(STMOD_18_GPIO_Port, &GPIO_InitStruct);

  /*Configure GPIO pin : PD11 */
  GPIO_InitStruct.Pin = GPIO_PIN_11;
  GPIO_InitStruct.Mode = GPIO_MODE_AF_PP;
  GPIO_InitStruct.Pull = GPIO_NOPULL;
  GPIO_InitStruct.Speed = GPIO_SPEED_FREQ_LOW;
  GPIO_InitStruct.Alternate = GPIO_AF2_SAI1;
  HAL_GPIO_Init(GPIOD, &GPIO_InitStruct);

  /*Configure GPIO pins : ARD_A1_Pin ARD_A2_Pin ARD_A4_Pin ARD_A3_Pin */
  GPIO_InitStruct.Pin = ARD_A1_Pin|ARD_A2_Pin|ARD_A4_Pin|ARD_A3_Pin;
  GPIO_InitStruct.Mode = GPIO_MODE_ANALOG;
  GPIO_InitStruct.Pull = GPIO_NOPULL;
  HAL_GPIO_Init(GPIOA, &GPIO_InitStruct);

  /*Configure GPIO pins : ARD_D1_Pin ARD_D0_Pin */
  GPIO_InitStruct.Pin = ARD_D1_Pin|ARD_D0_Pin;
  GPIO_InitStruct.Mode = GPIO_MODE_AF_PP;
  GPIO_InitStruct.Pull = GPIO_NOPULL;
  GPIO_InitStruct.Speed = GPIO_SPEED_FREQ_LOW;
  GPIO_InitStruct.Alternate = GPIO_AF7_USART3;
  HAL_GPIO_Init(GPIOB, &GPIO_InitStruct);

  /*Configure GPIO pin : ARD_D11_Pin */
  GPIO_InitStruct.Pin = ARD_D11_Pin;
  GPIO_InitStruct.Mode = GPIO_MODE_AF_PP;
  GPIO_InitStruct.Pull = GPIO_NOPULL;
  GPIO_InitStruct.Speed = GPIO_SPEED_FREQ_LOW;
  GPIO_InitStruct.Alternate = GPIO_AF5_SPI2;
  HAL_GPIO_Init(ARD_D11_GPIO_Port, &GPIO_InitStruct);

  /*Configure GPIO pin : PDM_SAI1_SD3_Pin */
  GPIO_InitStruct.Pin = PDM_SAI1_SD3_Pin;
  GPIO_InitStruct.Mode = GPIO_MODE_AF_PP;
  GPIO_InitStruct.Pull = GPIO_NOPULL;
  GPIO_InitStruct.Speed = GPIO_SPEED_FREQ_LOW;
  GPIO_InitStruct.Alternate = GPIO_AF2_SAI1;
  HAL_GPIO_Init(PDM_SAI1_SD3_GPIO_Port, &GPIO_InitStruct);

  /*Configure GPIO pin : ARD_D10_Pin */
  GPIO_InitStruct.Pin = ARD_D10_Pin;
  GPIO_InitStruct.Mode = GPIO_MODE_AF_PP;
  GPIO_InitStruct.Pull = GPIO_NOPULL;
  GPIO_InitStruct.Speed = GPIO_SPEED_FREQ_LOW;
  GPIO_InitStruct.Alternate = GPIO_AF5_SPI2;
  HAL_GPIO_Init(ARD_D10_GPIO_Port, &GPIO_InitStruct);

  /*Configure GPIO pin : PB1 */
  GPIO_InitStruct.Pin = GPIO_PIN_1;
  GPIO_InitStruct.Mode = GPIO_MODE_AF_PP;
  GPIO_InitStruct.Pull = GPIO_NOPULL;
  GPIO_InitStruct.Speed = GPIO_SPEED_FREQ_VERY_HIGH;
  GPIO_InitStruct.Alternate = GPIO_AF6_OCTOSPI1;
  HAL_GPIO_Init(GPIOB, &GPIO_InitStruct);

  /*Configure GPIO pins : ARD_A5_Pin IBUS_SENSE_Pin STMOD_13_Pin VBUS_SENSE_Pin */
  GPIO_InitStruct.Pin = ARD_A5_Pin|IBUS_SENSE_Pin|STMOD_13_Pin|VBUS_SENSE_Pin;
  GPIO_InitStruct.Mode = GPIO_MODE_ANALOG;
  GPIO_InitStruct.Pull = GPIO_NOPULL;
  HAL_GPIO_Init(GPIOF, &GPIO_InitStruct);

  /*Configure GPIO pins : LCD_D6_Pin LCD_D11_Pin LCD_D12_Pin LCD_D5_Pin
                           LCD_D8_Pin LCD_D10_Pin PE7 LCD_D7_Pin
                           LCD_D9_Pin */
  GPIO_InitStruct.Pin = LCD_D6_Pin|LCD_D11_Pin|LCD_D12_Pin|LCD_D5_Pin
                          |LCD_D8_Pin|LCD_D10_Pin|GPIO_PIN_7|LCD_D7_Pin
                          |LCD_D9_Pin;
  GPIO_InitStruct.Mode = GPIO_MODE_AF_PP;
  GPIO_InitStruct.Pull = GPIO_NOPULL;
  GPIO_InitStruct.Speed = GPIO_SPEED_FREQ_VERY_HIGH;
  GPIO_InitStruct.Alternate = GPIO_AF12_FMC;
  HAL_GPIO_Init(GPIOE, &GPIO_InitStruct);

  /*Configure GPIO pins : STMOD_9_MISOs_Pin STMOD_12_RST_Pin */
  GPIO_InitStruct.Pin = STMOD_9_MISOs_Pin|STMOD_12_RST_Pin;
  GPIO_InitStruct.Mode = GPIO_MODE_AF_PP;
  GPIO_InitStruct.Pull = GPIO_NOPULL;
  GPIO_InitStruct.Speed = GPIO_SPEED_FREQ_LOW;
  GPIO_InitStruct.Alternate = GPIO_AF5_SPI5;
  HAL_GPIO_Init(GPIOH, &GPIO_InitStruct);

  /*Configure GPIO pins : ARD_D6_Pin ARD_D5_Pin */
  GPIO_InitStruct.Pin = ARD_D6_Pin|ARD_D5_Pin;
  GPIO_InitStruct.Mode = GPIO_MODE_AF_PP;
  GPIO_InitStruct.Pull = GPIO_NOPULL;
  GPIO_InitStruct.Speed = GPIO_SPEED_FREQ_LOW;
  GPIO_InitStruct.Alternate = GPIO_AF2_TIM5;
  HAL_GPIO_Init(GPIOH, &GPIO_InitStruct);

  /*Configure GPIO pins : UCPD_CC2_Pin ARD_A0_Pin UCPD_CC1_Pin */
  GPIO_InitStruct.Pin = UCPD_CC2_Pin|ARD_A0_Pin|UCPD_CC1_Pin;
  GPIO_InitStruct.Mode = GPIO_MODE_ANALOG;
  GPIO_InitStruct.Pull = GPIO_NOPULL;
  HAL_GPIO_Init(GPIOB, &GPIO_InitStruct);

  /*Configure GPIO pins : PH3 PH2 */
  GPIO_InitStruct.Pin = GPIO_PIN_3|GPIO_PIN_2;
  GPIO_InitStruct.Mode = GPIO_MODE_AF_PP;
  GPIO_InitStruct.Pull = GPIO_NOPULL;
  GPIO_InitStruct.Speed = GPIO_SPEED_FREQ_VERY_HIGH;
  GPIO_InitStruct.Alternate = GPIO_AF9_OCTOSPI1;
  HAL_GPIO_Init(GPIOH, &GPIO_InitStruct);

  /*Configure GPIO pin : PB2 */
  GPIO_InitStruct.Pin = GPIO_PIN_2;
  GPIO_InitStruct.Mode = GPIO_MODE_AF_PP;
  GPIO_InitStruct.Pull = GPIO_NOPULL;
  GPIO_InitStruct.Speed = GPIO_SPEED_FREQ_VERY_HIGH;
  GPIO_InitStruct.Alternate = GPIO_AF10_OCTOSPI1;
  HAL_GPIO_Init(GPIOB, &GPIO_InitStruct);

}

/* USER CODE BEGIN 4 */
/**
 * @brief  Setup the network interface
 *   None
 * @retval None
 */
static void Netif_Config(void) {
      ip_addr_t ipaddr;
      ip_addr_t netmask;
      ip_addr_t gw;
#if LWIP_DHCP
      ip_addr_set_zero_ip4(&ipaddr);
      ip_addr_set_zero_ip4(&netmask);
      ip_addr_set_zero_ip4(&gw);
#else
  /* IP address default setting */
  IP4_ADDR(&ipaddr, IP_ADDR0, IP_ADDR1, IP_ADDR2, IP_ADDR3);
  IP4_ADDR(&netmask, NETMASK_ADDR0, NETMASK_ADDR1 , NETMASK_ADDR2, NETMASK_ADDR3);
  IP4_ADDR(&gw, GW_ADDR0, GW_ADDR1, GW_ADDR2, GW_ADDR3);
#endif
      /* add the network interface */
      netif_add(&gnetif, &ipaddr, &netmask, &gw, NULL, &ethernetif_init,
                   &ethernet_input);
      /*  Registers the default network interface */
      netif_set_default(&gnetif);
#if LWIP_NETIF_LINK_CALLBACK
      netif_set_link_callback(&gnetif, ethernet_link_status_updated);
      dhcp_start(&gnetif);
      ethernet_link_status_updated(&gnetif);
#endif
}
/* USER CODE END 4 */

void Error_Handler(void)
{
  __disable_irq();
  while (1)
  {
  }
}
